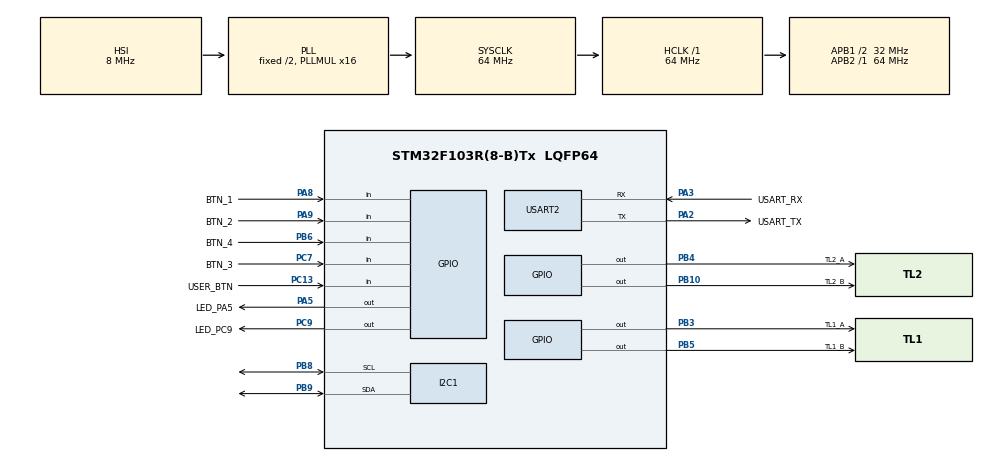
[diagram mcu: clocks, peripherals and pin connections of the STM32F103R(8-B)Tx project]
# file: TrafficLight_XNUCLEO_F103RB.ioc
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Mcu.Family=STM32F1
Mcu.Name=STM32F103R(8-B)Tx
Mcu.Package=LQFP64
NVIC.PriorityGroup=NVIC_PRIORITYGROUP_4
NVIC.TIM2_IRQn=true\:0\:0\:false\:false\:true\:true\:true
PA13.GPIO_Label=TMS
PA13.Mode=Serial_Wire
PA13.Signal=SYS_JTMS-SWDIO
PA14.GPIO_Label=TCK
PA14.Mode=Serial_Wire
PA14.Signal=SYS_JTCK-SWCLK
PA2.GPIO_Label=USART_TX
PA2.GPIO_Mode=GPIO_MODE_AF_PP
PA2.GPIO_PuPd=GPIO_NOPULL
PA2.GPIO_Speed=GPIO_SPEED_FREQ_LOW
PA2.Mode=Asynchronous
PA2.Signal=USART2_TX
PA3.GPIO_Label=USART_RX
PA3.GPIO_Mode=GPIO_MODE_AF_PP
PA3.GPIO_PuPd=GPIO_NOPULL
PA3.GPIO_Speed=GPIO_SPEED_FREQ_LOW
PA3.Mode=Asynchronous
PA3.Signal=USART2_RX
PA5.GPIO_Label=LED_PA5
PA5.Signal=GPIO_Output
PA8.GPIO_Label=BTN_1
PA8.Signal=GPIO_Input
PA9.GPIO_Label=BTN_2
PA9.Signal=GPIO_Input
PB10.GPIO_Label=TL2_B
PB10.Signal=GPIO_Output
PB3.GPIO_Label=TL1_A
PB3.Signal=GPIO_Output
PB4.GPIO_Label=TL2_A
PB4.Signal=GPIO_Output
PB5.GPIO_Label=TL1_B
PB5.Signal=GPIO_Output
PB6.GPIO_Label=BTN_4
PB6.Signal=GPIO_Input
PB8.Mode=I2C
PB8.Signal=I2C1_SCL
PB9.Mode=I2C
PB9.Signal=I2C1_SDA
PC13-TAMPER-RTC.GPIO_Label=USER_BTN
PC13-TAMPER-RTC.Signal=GPIO_Input
PC14-OSC32_IN.Mode=LSE-External-Oscillator
PC14-OSC32_IN.Signal=RCC_OSC32_IN
PC15-OSC32_OUT.Mode=LSE-External-Oscillator
PC15-OSC32_OUT.Signal=RCC_OSC32_OUT
PC7.GPIO_Label=BTN_3
PC7.Signal=GPIO_Input
PC9.GPIO_Label=LED_PC9
PC9.Signal=GPIO_Output
PD0-OSC_IN.Mode=HSE-External-Clock-Source
PD0-OSC_IN.Signal=RCC_OSC_IN
PD1-OSC_OUT.Mode=HSE-External-Clock-Source
PD1-OSC_OUT.Signal=RCC_OSC_OUT
ProjectManager.HeapSize=0x200
ProjectManager.StackSize=0x400
ProjectManager.TargetToolchain=STM32CubeIDE
RCC.AHBFreq_Value=64000000
RCC.APB1CLKDivider=RCC_HCLK_DIV2
RCC.APB1Freq_Value=32000000
RCC.APB1TimFreq_Value=64000000
RCC.APB2Freq_Value=64000000
RCC.APB2TimFreq_Value=64000000
RCC.HCLKFreq_Value=64000000
RCC.PLLMUL=RCC_PLL_MUL16
RCC.RTCClockSelection=RCC_RTCCLKSOURCE_LSE
RCC.SYSCLKFreq_VALUE=64000000
RCC.SYSCLKSource=RCC_SYSCLKSOURCE_PLLCLK
RCC.USBFreq_Value=64000000
TIM2.Period=99
TIM2.Prescaler=6399
USART2.VirtualMode=VM_ASYNC
VP_TIM2_VS_ClockSourceINT.Mode=Internal
board=NUCLEO-F103RB

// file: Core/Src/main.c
/* USER CODE BEGIN Header */
/**
  ******************************************************************************
  * @file           : main.c
  * @brief          : Main program body
  ******************************************************************************
  * @attention
  *
  * <h2><center>&copy; Copyright (c) 2026 STMicroelectronics.
  * All rights reserved.</center></h2>
  *
  * This software component is licensed by ST under BSD 3-Clause license,
  * the "License"; You may not use this file except in compliance with the
  * License. You may obtain a copy of the License at:
  *                        opensource.org/licenses/BSD-3-Clause
  *
  ******************************************************************************
  */
/* USER CODE END Header */
#include "main.h"

I2C_HandleTypeDef hi2c1;

TIM_HandleTypeDef htim2;

UART_HandleTypeDef huart2;

/* USER CODE BEGIN PV */
uint8_t i2c_found_7bit[8] = {0};
uint8_t i2c_found_8bit[8] = {0};
int i2c_device_count = 0;
/* USER CODE END PV */

void SystemClock_Config(void);
static void MX_GPIO_Init(void);
static void MX_USART2_UART_Init(void);
static void MX_I2C1_Init(void);
static void MX_TIM2_Init(void);

int main(void)
{

  /* MCU Configuration--------------------------------------------------------*/

  /* Reset of all peripherals, Initializes the Flash interface and the Systick. */
  HAL_Init();

  /* Configure the system clock */
  SystemClock_Config();

  /* Initialize all configured peripherals */
  MX_GPIO_Init();
  MX_USART2_UART_Init();
  MX_I2C1_Init();
  MX_TIM2_Init();
  /* USER CODE BEGIN 2 */
  HAL_Delay(100);
  n = 0;
  for (uint8_t addr = 1; addr < 128; addr++) {
      if (HAL_I2C_IsDeviceReady(&hi2c1, (uint16_t)(addr << 1), 1, 10) == HAL_OK) {
          if (n < 8) {
              found_8bit[n] = (uint8_t)(addr << 1);
              found[n++] = addr;
          }
      }
  }
  /* USER CODE END 2 */

  /* Infinite loop */
  /* USER CODE BEGIN WHILE */
  while (1)
  {
      /* [Step 3.1 & 3.2 - Nguyen] Da test xong, tam dong comment de khong bi
       * chan 8 giay boi HAL_Delay(2000) va xung dot dieu khien LED_PA5:
       *
       * for (int i = 0; i < 4; i++) {
       *     HAL_GPIO_TogglePin(LED_PA5_GPIO_Port, LED_PA5_Pin);
       *     HAL_GPIO_WritePin(TL1_A_GPIO_Port, TL1_A_Pin, (i >> 1) & 1);
       *     HAL_GPIO_WritePin(TL1_B_GPIO_Port, TL1_B_Pin, i & 1);
       *     HAL_Delay(2000);
       * }
       */

      /* --- [Step 3.3 - Tung] TEST 4 NUT NHAN ROI (D7-D10) & NUT USER (PC13) ---
       * Gia su ban dau kiem tra voi muc GPIO_PIN_RESET (logic 0):
       * - Neu CHUA nhan nut ma LED_PA5 tat, va chi SANG KHI NHAN NUT:
       *   -> Module nut nhan la ACTIVE-LOW (Nhan = 0 / GPIO_PIN_RESET).
       * - Neu CHUA nhan nut ma LED_PA5 da sang (hoac nhan nut thi LED_PA5 tat):
       *   -> Module nut nhan la ACTIVE-HIGH (Nhan = 1 / GPIO_PIN_SET).
       */
      if (HAL_GPIO_ReadPin(BTN_1_GPIO_Port, BTN_1_Pin) == GPIO_PIN_RESET ||
          HAL_GPIO_ReadPin(BTN_2_GPIO_Port, BTN_2_Pin) == GPIO_PIN_RESET ||
          HAL_GPIO_ReadPin(BTN_3_GPIO_Port, BTN_3_Pin) == GPIO_PIN_RESET ||
          HAL_GPIO_ReadPin(BTN_4_GPIO_Port, BTN_4_Pin) == GPIO_PIN_RESET)
      {
          HAL_GPIO_WritePin(LED_PA5_GPIO_Port, LED_PA5_Pin, GPIO_PIN_SET);   // Bat LED PA5
      }
      else
      {
          HAL_GPIO_WritePin(LED_PA5_GPIO_Port, LED_PA5_Pin, GPIO_PIN_RESET); // Tat LED PA5
      }

      /* Test rieng nut USER_BTN (PC13) hien thi len LED_PC9 */
      if (HAL_GPIO_ReadPin(USER_BTN_GPIO_Port, USER_BTN_Pin) == GPIO_PIN_RESET)
      {
          HAL_GPIO_WritePin(LED_PC9_GPIO_Port, LED_PC9_Pin, GPIO_PIN_SET);
      }
      else
      {
          HAL_GPIO_WritePin(LED_PC9_GPIO_Port, LED_PC9_Pin, GPIO_PIN_RESET);
      }
    /* USER CODE END WHILE */

  }
}

void SystemClock_Config(void)
{
  RCC_OscInitTypeDef RCC_OscInitStruct = {0};
  RCC_ClkInitTypeDef RCC_ClkInitStruct = {0};

  /** Initializes the RCC Oscillators according to the specified parameters
  * in the RCC_OscInitTypeDef structure.
  */
  RCC_OscInitStruct.OscillatorType = RCC_OSCILLATORTYPE_HSI;
  RCC_OscInitStruct.HSIState = RCC_HSI_ON;
  RCC_OscInitStruct.HSICalibrationValue = RCC_HSICALIBRATION_DEFAULT;
  RCC_OscInitStruct.PLL.PLLState = RCC_PLL_ON;
  RCC_OscInitStruct.PLL.PLLSource = RCC_PLLSOURCE_HSI_DIV2;
  RCC_OscInitStruct.PLL.PLLMUL = RCC_PLL_MUL16;
  if (HAL_RCC_OscConfig(&RCC_OscInitStruct) != HAL_OK)
  {
    Error_Handler();
  }
  /** Initializes the CPU, AHB and APB buses clocks
  */
  RCC_ClkInitStruct.ClockType = RCC_CLOCKTYPE_HCLK|RCC_CLOCKTYPE_SYSCLK
                              |RCC_CLOCKTYPE_PCLK1|RCC_CLOCKTYPE_PCLK2;
  RCC_ClkInitStruct.SYSCLKSource = RCC_SYSCLKSOURCE_PLLCLK;
  RCC_ClkInitStruct.AHBCLKDivider = RCC_SYSCLK_DIV1;
  RCC_ClkInitStruct.APB1CLKDivider = RCC_HCLK_DIV2;
  RCC_ClkInitStruct.APB2CLKDivider = RCC_HCLK_DIV1;

  if (HAL_RCC_ClockConfig(&RCC_ClkInitStruct, FLASH_LATENCY_2) != HAL_OK)
  {
    Error_Handler();
  }
}

static void MX_I2C1_Init(void)
{

  hi2c1.Instance = I2C1;
  hi2c1.Init.ClockSpeed = 100000;
  hi2c1.Init.DutyCycle = I2C_DUTYCYCLE_2;
  hi2c1.Init.OwnAddress1 = 0;
  hi2c1.Init.AddressingMode = I2C_ADDRESSINGMODE_7BIT;
  hi2c1.Init.DualAddressMode = I2C_DUALADDRESS_DISABLE;
  hi2c1.Init.OwnAddress2 = 0;
  hi2c1.Init.GeneralCallMode = I2C_GENERALCALL_DISABLE;
  hi2c1.Init.NoStretchMode = I2C_NOSTRETCH_DISABLE;
  if (HAL_I2C_Init(&hi2c1) != HAL_OK)
  {
    Error_Handler();
  }

}

static void MX_TIM2_Init(void)
{

  TIM_ClockConfigTypeDef sClockSourceConfig = {0};
  TIM_MasterConfigTypeDef sMasterConfig = {0};

  htim2.Instance = TIM2;
  htim2.Init.Prescaler = 6399;
  htim2.Init.CounterMode = TIM_COUNTERMODE_UP;
  htim2.Init.Period = 99;
  htim2.Init.ClockDivision = TIM_CLOCKDIVISION_DIV1;
  htim2.Init.AutoReloadPreload = TIM_AUTORELOAD_PRELOAD_DISABLE;
  if (HAL_TIM_Base_Init(&htim2) != HAL_OK)
  {
    Error_Handler();
  }
  sClockSourceConfig.ClockSource = TIM_CLOCKSOURCE_INTERNAL;
  if (HAL_TIM_ConfigClockSource(&htim2, &sClockSourceConfig) != HAL_OK)
  {
    Error_Handler();
  }
  sMasterConfig.MasterOutputTrigger = TIM_TRGO_RESET;
  sMasterConfig.MasterSlaveMode = TIM_MASTERSLAVEMODE_DISABLE;
  if (HAL_TIMEx_MasterConfigSynchronization(&htim2, &sMasterConfig) != HAL_OK)
  {
    Error_Handler();
  }

}

static void MX_USART2_UART_Init(void)
{

  huart2.Instance = USART2;
  huart2.Init.BaudRate = 115200;
  huart2.Init.WordLength = UART_WORDLENGTH_8B;
  huart2.Init.StopBits = UART_STOPBITS_1;
  huart2.Init.Parity = UART_PARITY_NONE;
  huart2.Init.Mode = UART_MODE_TX_RX;
  huart2.Init.HwFlowCtl = UART_HWCONTROL_NONE;
  huart2.Init.OverSampling = UART_OVERSAMPLING_16;
  if (HAL_UART_Init(&huart2) != HAL_OK)
  {
    Error_Handler();
  }

}

static void MX_GPIO_Init(void)
{
  GPIO_InitTypeDef GPIO_InitStruct = {0};

  /* GPIO Ports Clock Enable */
  __HAL_RCC_GPIOC_CLK_ENABLE();
  __HAL_RCC_GPIOD_CLK_ENABLE();
  __HAL_RCC_GPIOA_CLK_ENABLE();
  __HAL_RCC_GPIOB_CLK_ENABLE();

  /*Configure GPIO pin Output Level */
  HAL_GPIO_WritePin(LED_PA5_GPIO_Port, LED_PA5_Pin, GPIO_PIN_RESET);

  /*Configure GPIO pin Output Level */
  HAL_GPIO_WritePin(GPIOB, TL2_B_Pin|TL1_A_Pin|TL2_A_Pin|TL1_B_Pin, GPIO_PIN_RESET);

  /*Configure GPIO pin Output Level */
  HAL_GPIO_WritePin(LED_PC9_GPIO_Port, LED_PC9_Pin, GPIO_PIN_RESET);

  /*Configure GPIO pins : USER_BTN_Pin BTN_3_Pin */
  GPIO_InitStruct.Pin = USER_BTN_Pin|BTN_3_Pin;
  GPIO_InitStruct.Mode = GPIO_MODE_INPUT;
  GPIO_InitStruct.Pull = GPIO_NOPULL;
  HAL_GPIO_Init(GPIOC, &GPIO_InitStruct);

  /*Configure GPIO pin : LED_PA5_Pin */
  GPIO_InitStruct.Pin = LED_PA5_Pin;
  GPIO_InitStruct.Mode = GPIO_MODE_OUTPUT_PP;
  GPIO_InitStruct.Pull = GPIO_NOPULL;
  GPIO_InitStruct.Speed = GPIO_SPEED_FREQ_LOW;
  HAL_GPIO_Init(LED_PA5_GPIO_Port, &GPIO_InitStruct);

  /*Configure GPIO pin : TL2_B_Pin TL1_A_Pin TL2_A_Pin TL1_B_Pin */
  GPIO_InitStruct.Pin = TL2_B_Pin|TL1_A_Pin|TL2_A_Pin|TL1_B_Pin;
  GPIO_InitStruct.Mode = GPIO_MODE_OUTPUT_PP;
  GPIO_InitStruct.Pull = GPIO_NOPULL;
  GPIO_InitStruct.Speed = GPIO_SPEED_FREQ_LOW;
  HAL_GPIO_Init(GPIOB, &GPIO_InitStruct);

  /*Configure GPIO pin : LED_PC9_Pin */
  GPIO_InitStruct.Pin = LED_PC9_Pin;
  GPIO_InitStruct.Mode = GPIO_MODE_OUTPUT_PP;
  GPIO_InitStruct.Pull = GPIO_NOPULL;
  GPIO_InitStruct.Speed = GPIO_SPEED_FREQ_LOW;
  HAL_GPIO_Init(LED_PC9_GPIO_Port, &GPIO_InitStruct);

  /*Configure GPIO pins : BTN_1_Pin BTN_2_Pin */
  GPIO_InitStruct.Pin = BTN_1_Pin|BTN_2_Pin;
  GPIO_InitStruct.Mode = GPIO_MODE_INPUT;
  GPIO_InitStruct.Pull = GPIO_NOPULL;
  HAL_GPIO_Init(GPIOA, &GPIO_InitStruct);

  /*Configure GPIO pin : BTN_4_Pin */
  GPIO_InitStruct.Pin = BTN_4_Pin;
  GPIO_InitStruct.Mode = GPIO_MODE_INPUT;
  GPIO_InitStruct.Pull = GPIO_NOPULL;
  HAL_GPIO_Init(BTN_4_GPIO_Port, &GPIO_InitStruct);

}

void Error_Handler(void)
{
  __disable_irq();
  while (1)
  {
  }
}

/************************ (C) COPYRIGHT STMicroelectronics *****END OF FILE****/
